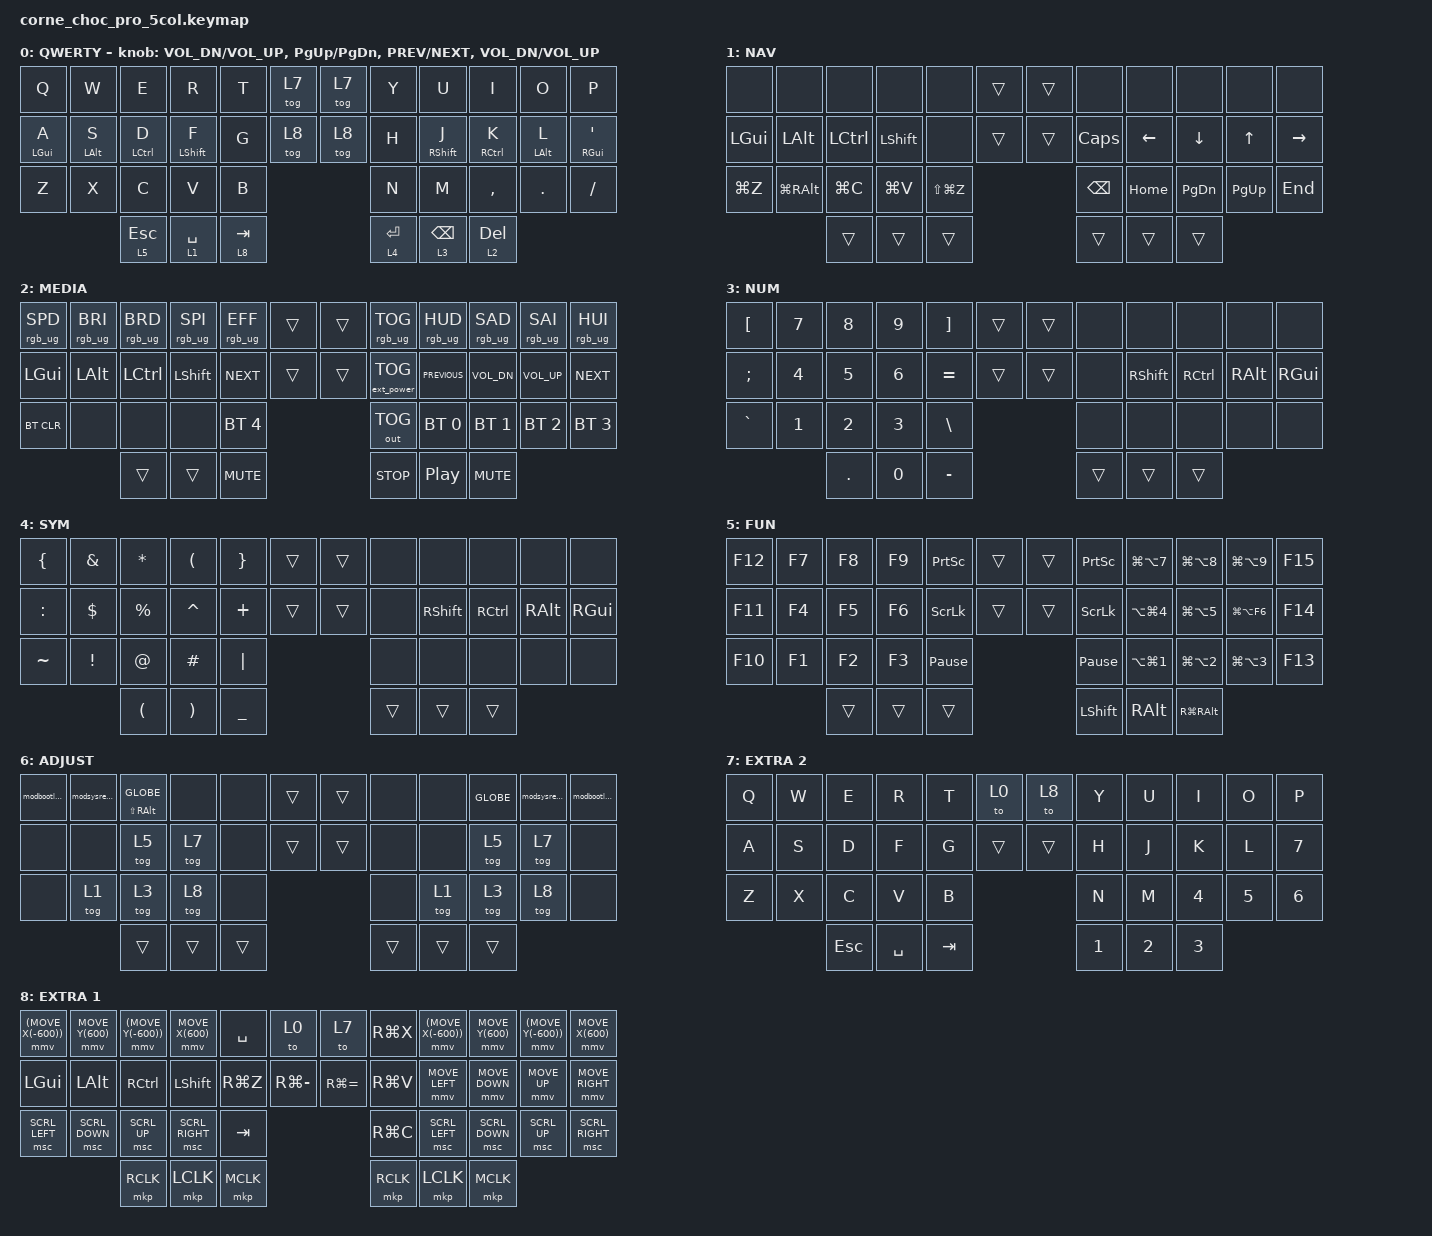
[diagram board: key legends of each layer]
/*
 * Copyright (c) 2020 The ZMK Contributors
 *
 * SPDX-License-Identifier: MIT
 */

#define ZMK_POINTING_DEFAULT_MOVE_VAL 1500  // default: 600
#define ZMK_POINTING_DEFAULT_SCRL_VAL 20    // default: 10

#include <behaviors.dtsi>
#include <dt-bindings/zmk/bt.h>
#include <dt-bindings/zmk/ext_power.h>
#include <dt-bindings/zmk/keys.h>
#include <dt-bindings/zmk/outputs.h>
#include <dt-bindings/zmk/pointing.h>
#include <dt-bindings/zmk/rgb.h>

#define BASE 0
#define NAV 1
#define MEDIA 2
#define NUM 3
#define SYM 4
#define FUN 5
#define ADJUST 6

&mt {
    flavor = "tap-preferred";
    tapping-term-ms = <150>;
};

&mmv {
    acceleration-exponent = <2>;
    time-to-max-speed-ms = <300>;
};

&msc { acceleration-exponent = <1>; };

/ {
    chosen { zmk,physical-layout = &five_col_layout; };

    combos {
        compatible = "zmk,combos";

        layer6 {
            bindings = <&tog 6>;
            key-positions = <24 33>;
        };
    };

    behaviors {
        modbootloader: modbootloader {
            compatible = "zmk,behavior-mod-morph";
            label = "MODBOOTLOADER";
            bindings = <&none>, <&modbootloader>;

            #binding-cells = <0>;
            mods = <(MOD_LCTL|MOD_LSFT)>;
        };

        modsysreset: modsysreset {
            compatible = "zmk,behavior-mod-morph";
            label = "MODSYSRESET";
            bindings = <&none>, <&none>;

            #binding-cells = <0>;
            mods = <(MOD_LCTL|MOD_LSFT)>;
        };
    };

    keymap {
        compatible = "zmk,keymap";

        default_layer {
            display-name = "QWERTY";

            // --------------------------------------------------------------------------------------
            // |  Q  |  W  |  E  |  R  |  T  | MUTE | PLAY |  Y  |  U  |  I  |  O  |  P  |
            // | GUI/A | ALT/S | CTRL/D | SHIFT/F | G | ALT | ALT | H | SHIFT/J | CTRL/K | ALT/L | GUI/' |
            // |  Z  |  X  |  C  |  V  |  B  |             |  N  |  M  |  ,  |  .  |  /  |
            //              | ESC/MEDIA | SPACE/NAV | TAB/FUN | RET/SYM | BSPC/NUM | DEL/ADJ |

            bindings = <
  &kp Q       &kp W       &kp E        &kp R        &kp T      &tog 7  &tog 7  &kp Y      &kp U        &kp I        &kp O           &kp P
  &mt LGUI A  &mt LALT S  &mt LCTRL D  &mt LSHFT F  &kp G      &tog 8  &tog 8  &kp H      &mt RSHFT J  &mt RCTRL K  &mt LEFT_ALT L  &mt RGUI SQT
  &kp Z       &kp X       &kp C        &kp V        &kp B                      &kp N      &kp M        &kp COMMA    &kp PERIOD      &kp FSLH
                          &lt 5 ESC    &lt 1 SPACE  &lt 8 TAB                  &lt 4 RET  &lt 3 BSPC   &lt 2 DEL
            >;

            sensor-bindings = <&inc_dec_kp C_VOL_DN C_VOL_UP &inc_dec_kp PG_UP PG_DN &inc_dec_kp C_PREV C_NEXT &inc_dec_kp C_VOL_DN C_VOL_UP>;
        };

        nav_layer {
            display-name = "NAV";

            // --------------------------------------------------------------------------------
            // |     |     |      |       |     |      |      |      |      |      |      |      |
            // | GUI | ALT | CTRL | SHIFT |     | ALT  | ALT  | CAPS | LEFT | DOWN |  UP  | RIGHT|
            // |     |     |      |       |     |             | INS  | HOME | PGDN | PGUP | END  |
            //                       |     |     |     |             |     |     |     |

            bindings = <
  &none      &none         &none      &none      &none          &trans  &trans  &none     &none     &none      &none      &none
  &kp LGUI   &kp LALT      &kp LCTRL  &kp LSHFT  &none          &trans  &trans  &kp CAPS  &kp LEFT  &kp DOWN   &kp UP     &kp RIGHT
  &kp LG(Z)  &kp LG(RALT)  &kp LG(C)  &kp LG(V)  &kp LS(LG(Z))                  &kp BSPC  &kp HOME  &kp PG_DN  &kp PG_UP  &kp END
                           &trans     &trans     &trans                         &trans    &trans    &trans
            >;
        };

        media_layer {
            display-name = "MEDIA";

            // --------------------------------------------------------------------------------------
            // | HUD | HUI | SAD | SAI | EFF | MUTE | PLAY | EFF | SAI | SAD | HUI | HUD |
            // | PREV| VOLD| MUTE| VOLU| NEXT| ALT  | ALT  | PREV| VOLD| MUTE| VOLU| NEXT|
            // | BRI | BRD | TOG |     |     |            |     |     | TOG | BRD | BRI |
            //                       |     |     |     |         |     |     |     |

            bindings = <
  &rgb_ug RGB_SPD  &rgb_ug RGB_BRI  &rgb_ug RGB_BRD  &rgb_ug RGB_SPI  &rgb_ug RGB_EFF  &trans  &trans  &rgb_ug RGB_TOG    &rgb_ug RGB_HUD   &rgb_ug RGB_SAD  &rgb_ug RGB_SAI  &rgb_ug RGB_HUI
  &kp LGUI         &kp LALT         &kp LCTRL        &kp LSHFT        &kp C_NEXT       &trans  &trans  &ext_power EP_TOG  &kp C_PREVIOUS    &kp C_VOL_DN     &kp C_VOL_UP     &kp C_NEXT
  &bt BT_CLR       &none            &none            &none            &bt BT_SEL 4                     &out OUT_TOG       &bt BT_SEL 0      &bt BT_SEL 1     &bt BT_SEL 2     &bt BT_SEL 3
                                    &trans           &trans           &kp C_MUTE                       &kp C_STOP         &kp C_PLAY_PAUSE  &kp C_MUTE
            >;
        };

        num_layer {
            display-name = "NUM";

            // --------------------------------------------------------------------------------
            // |  [  |  7  |  8  |  9  |  ]  |      |      |     |       |      |     |     |
            // |  ;  |  4  |  5  |  6  |  =  |      |      |     | SHIFT | CTRL | ALT | GUI |
            // |  `  |  1  |  2  |  3  |  \  |             |     |       |      |     |     |
            //                       |  .  |  0  |  -  |          |     |     |     |

            bindings = <
  &kp LBKT   &kp N7  &kp N8   &kp N9  &kp RBKT   &trans  &trans  &none   &none      &none      &none     &none
  &kp SEMI   &kp N4  &kp N5   &kp N6  &kp EQUAL  &trans  &trans  &none   &kp RSHFT  &kp RCTRL  &kp RALT  &kp RGUI
  &kp GRAVE  &kp N1  &kp N2   &kp N3  &kp BSLH                   &none   &none      &none      &none     &none
                     &kp DOT  &kp N0  &kp MINUS                  &trans  &trans     &trans
            >;
        };

        sym_layer {
            display-name = "SYM";

            // --------------------------------------------------------------------------------
            // |  {  |  &  |  *  |  (  |  }  |      |      |     |       |      |     |     |
            // |  :  |  $  |  %  |  ^  |  +  |      |      |     | SHIFT | CTRL | ALT | GUI |
            // |  ~  |  !  |  @  |  #  |  |  |             |     |       |      |     |     |
            //                       |  (  |  )  |  _  |          |     |     |     |

            bindings = <
  &kp LBRC   &kp AMPS  &kp ASTRK  &kp LPAR   &kp RBRC   &trans  &trans  &none   &none      &none      &none     &none
  &kp COLON  &kp DLLR  &kp PRCNT  &kp CARET  &kp PLUS   &trans  &trans  &none   &kp RSHFT  &kp RCTRL  &kp RALT  &kp RGUI
  &kp TILDE  &kp EXCL  &kp AT     &kp HASH   &kp PIPE                   &none   &none      &none      &none     &none
                       &kp LPAR   &kp RPAR   &kp UNDER                  &trans  &trans     &trans
            >;
        };

        fun_layer {
            display-name = "FUN";

            // --------------------------------------------------------------------------------
            // |     |     |      |       |     |      |      | PSCR| F7 | F8 | F9 | F12|
            // | GUI | ALT | CTRL | SHIFT |     | ALT  | ALT  | SLCK| F4 | F5 | F6 | F11|
            // |     |     |      |       |     |             | PAUS| F1 | F2 | F3 | F10|
            //                       |     |     |     |             |     |     |     |

            bindings = <
  &kp F12  &kp F7  &kp F8  &kp F9  &kp PRINTSCREEN  &trans  &trans  &kp PSCRN        &kp LG(LA(N7))        &kp LG(LA(N8))        &kp LG(LA(N9))        &kp F15
  &kp F11  &kp F4  &kp F5  &kp F6  &kp SCROLLLOCK   &trans  &trans  &kp SLCK         &kp LA(LG(NUMBER_4))  &kp LG(LA(N5))        &kp LG(LA(F6))        &kp F14
  &kp F10  &kp F1  &kp F2  &kp F3  &kp PAUSE_BREAK                  &kp PAUSE_BREAK  &kp LA(LG(NUMBER_1))  &kp LG(LA(NUMBER_2))  &kp LG(LA(NUMBER_3))  &kp F13
                   &trans  &trans  &trans                           &kp LEFT_SHIFT   &kp RIGHT_ALT         &kp RG(RIGHT_ALT)
            >;
        };

        adjust_layer {
            display-name = "ADJUST";

            // --------------------------------------------------------------------------------
            // | BTCLR| BT1 | BT2 | BT3 | BT4 | MUTE | PLAY | BT5 |     |     |     |     |
            // | HUD | HUI | SAD | SAI | EFF | ALT  | ALT  | BRI | BRD | TOG |     |     |
            // | RST | BOOT| UNLK|     |     |            |     |     |     |     |     |
            //                       |     |     |     |         |     |     |     |

            bindings = <
  &modbootloader  &modsysreset  &mt LS(RIGHT_ALT) GLOBE  &none   &none   &trans  &trans  &none   &none   &kp GLOBE  &modsysreset  &modbootloader
  &none           &none         &tog 5                   &tog 7  &none   &trans  &trans  &none   &none   &tog 5     &tog 7        &none
  &none           &tog 1        &tog 3                   &tog 8  &none                   &none   &tog 1  &tog 3     &tog 8        &none
                                &trans                   &trans  &trans                  &trans  &trans  &trans
            >;
        };

        GAMING {
            display-name = "EXTRA 2";
            bindings = <
  &kp Q  &kp W  &kp E    &kp R      &kp T    &to 0   &to 8   &kp Y         &kp U         &kp I         &kp O   &kp P
  &kp A  &kp S  &kp D    &kp F      &kp G    &trans  &trans  &kp H         &kp J         &kp K         &kp L   &kp N7
  &kp Z  &kp X  &kp C    &kp V      &kp B                    &kp N         &kp M         &kp NUMBER_4  &kp N5  &kp NUMBER_6
                &kp ESC  &kp SPACE  &kp TAB                  &kp NUMBER_1  &kp NUMBER_2  &kp NUMBER_3
            >;
        };

        MOUSE {
            display-name = "EXTRA 1";
            bindings = <
  &mmv (MOVE_X(-600))  &mmv MOVE_Y(600)  &mmv (MOVE_Y(-600))  &mmv MOVE_X(600)  &kp SPACE  &to 0          &to 7          &kp RG(X)  &mmv (MOVE_X(-600))  &mmv MOVE_Y(600)  &mmv (MOVE_Y(-600))  &mmv MOVE_X(600)
  &kp LEFT_GUI         &kp LEFT_ALT      &kp RCTRL            &kp LEFT_SHIFT    &kp RG(Z)  &kp RG(MINUS)  &kp RG(EQUAL)  &kp RG(V)  &mmv MOVE_LEFT       &mmv MOVE_DOWN    &mmv MOVE_UP         &mmv MOVE_RIGHT
  &msc SCRL_LEFT       &msc SCRL_DOWN    &msc SCRL_UP         &msc SCRL_RIGHT   &kp TAB                                  &kp RG(C)  &msc SCRL_LEFT       &msc SCRL_DOWN    &msc SCRL_UP         &msc SCRL_RIGHT
                                         &mkp RCLK            &mkp LCLK         &mkp MCLK                                &mkp RCLK  &mkp LCLK            &mkp MCLK
            >;
        };
    };
};
